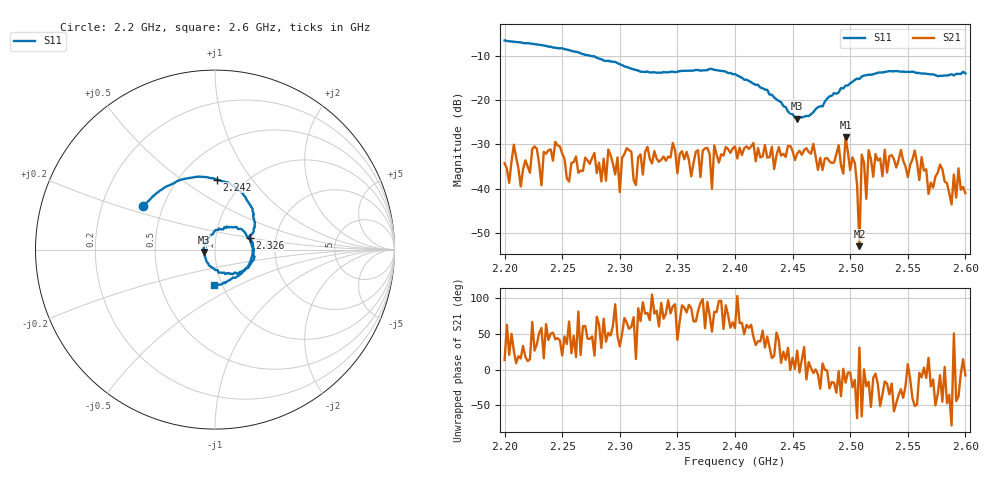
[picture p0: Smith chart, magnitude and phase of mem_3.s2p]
! NanoVNA-App
! Date: 2025-03-07 15:44:28
! Start: 2.2GHz Stop: 2.6GHz Points: 201
! S-Parameter data: F S11 S21 S12 S22
# Hz S RI R 50
!  Frequency  S11_Real  S11_Imag  S21_Real  S21_Imag  S12_Real  S12_Imag  S22_Real  S22_Imag
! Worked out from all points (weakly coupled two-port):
!   201 points, 2.2 GHz to 2.6 GHz, reference 50 ohm
!   highest |S21| = -28.38 dB at 2.496 GHz (marker M1); lowest = -52.9 dB at 2.508 GHz (marker M2)
!   lowest |S11| = -24.2 dB at 2.454 GHz (marker M3), VSWR 1.13, Z = 44.3 - j1.3 ohm
!   |S11| at or under -10 dB: 2.274 GHz to end of sweep
!   S12 and S22 are empty: the file has one direction only
!   S11 on the Smith chart (normalised r, x): 2.2 GHz: 0.39, +0.24; 2.242 GHz: 0.75, +0.69; 2.326 GHz: 1.46, +0.20; 2.6 GHz: 0.92, -0.38
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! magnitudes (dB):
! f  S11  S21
! 2.2 GHz  -6.6  -34.3
! 2.242 GHz  -8.2  -33.7
! 2.268 GHz  -9.7  -36.0
! 2.3 GHz  -12.0  -40.8
! 2.306 GHz  -12.5  -30.9
! 2.326 GHz  -13.8  -33.2
! 2.334 GHz  -13.8  -33.9
! 2.376 GHz  -13.3  -30.8
! 2.38 GHz  -13.0  -40.0
! 2.382 GHz  -13.2  -30.2
! 2.4 GHz  -14.2  -30.4
! 2.454 GHz  -24.2  -32.1
! 2.468 GHz  -22.8  -29.9
! 2.494 GHz  -17.4  -36.6
! 2.496 GHz  -16.8  -28.4
! 2.504 GHz  -15.5  -34.2
! 2.508 GHz  -15.3  -52.9
! 2.51 GHz  -14.7  -32.3
! 2.514 GHz  -14.4  -42.3
! 2.516 GHz  -14.3  -31.3
! 2.534 GHz  -13.5  -32.7
! 2.6 GHz  -14.0  -41.0
